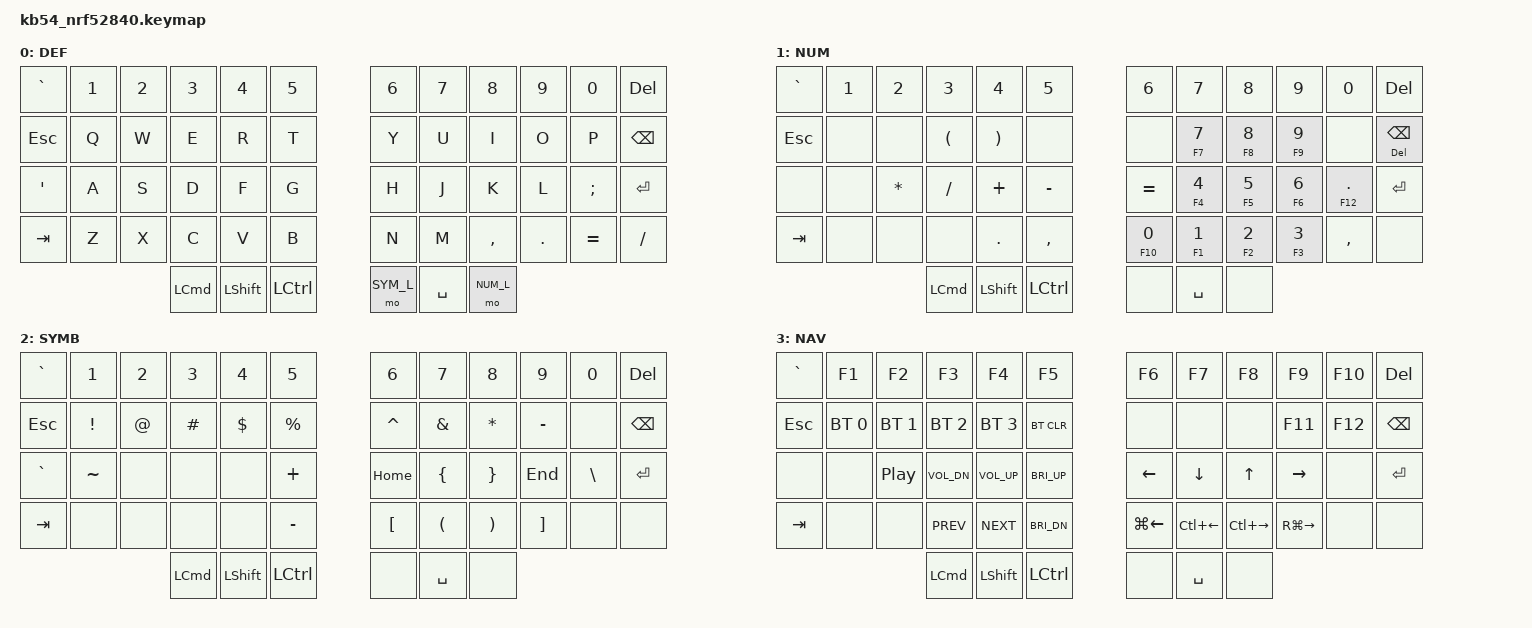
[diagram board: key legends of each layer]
/*
 * Copyright (c) 2020 The ZMK Contributors
 *
 * SPDX-License-Identifier: MIT
 */

#include <behaviors.dtsi>
#include <dt-bindings/zmk/keys.h>
#include <dt-bindings/zmk/bt.h>

#define DEF_L       0
#define NUM_L       1
#define SYM_L       2
#define NAV_L       3

/ {

    combos {
        compatible = "zmk,combos";
        combo_nav {
            timeout-ms = <100>;
            /* both inner thumbs */
            key-positions = <50 51>;
            bindings = <&mo NAV_L>;
        };
    };

	behaviors {
        hm: homerow_mods {
            compatible = "zmk,behavior-hold-tap";
            label = "HOMEROW_MODS";
            #binding-cells = <2>;
            tapping-term-ms = <300>;
            quick-tap-ms = <200>;
            flavor = "tap-preferred";
            bindings = <&kp>, <&kp>;
        };
    };

    keymap {
        compatible = "zmk,keymap";
        default_layer {
            display-name = "DEF";
			label = "DEF";
            bindings = <

   &kp GRAVE    &kp N1      &kp N2      &kp N3      &kp N4      &kp N5              &kp N6          &kp N7      &kp N8      &kp N9      &kp N0          &kp DEL
   &kp ESC      &kp Q       &kp W       &kp E       &kp R       &kp T               &kp Y           &kp U       &kp I       &kp O       &kp P           &kp BSPC
   &kp SQT      &kp A       &kp S       &kp D       &kp F       &kp G               &kp H           &kp J       &kp K       &kp L       &kp SEMI        &kp RET
   &kp TAB      &kp Z       &kp X       &kp C       &kp V       &kp B               &kp N           &kp M       &kp COMMA   &kp DOT     &kp EQUAL       &kp FSLH
                                        &kp LCMD    &kp LSHFT   &kp LCTRL           &mo SYM_L       &kp SPACE   &mo NUM_L
            >;
        };

        numbers_layer {
            display-name = "NUM";
			label = "NUM";
            bindings = <
   &kp GRAVE    &kp N1          &kp N2          &kp N3          &kp N4          &kp N5                          &kp N6          &kp N7      &kp N8      &kp N9      &kp N0          &kp DEL
   &kp ESC      &none           &none           &kp LPAR        &kp RPAR        &none                           &none           &hm F7 N7   &hm F8 N8   &hm F9 N9   &none           &hm DEL BSPC
   &none        &none           &kp STAR        &kp FSLH        &kp PLUS        &kp MINUS                       &kp EQUAL       &hm F4 N4   &hm F5 N5   &hm F6 N6   &hm F12 DOT     &kp RET
   &kp TAB      &none           &none           &none           &kp DOT         &kp COMMA                       &hm F10 N0		&hm F1 N1   &hm F2 N2   &hm F3 N3   &kp COMMA       &none
                                                &kp LCMD        &kp LSHFT       &kp LCTRL                       &none           &kp SPACE   &none
            >;
        };

        symbols_layer {
            display-name = "SYMB";
			label = "SYMB";
            bindings = <
   &kp GRAVE    &kp N1      &kp N2      &kp N3      &kp N4      &kp N5              &kp N6          &kp N7      &kp N8      &kp N9      &kp N0          &kp DEL
   &kp ESC      &kp EXCL    &kp AT      &kp HASH    &kp DLLR    &kp PRCNT           &kp CARET       &kp AMPS    &kp STAR    &kp MINUS   &none           &kp BSPC
   &kp GRAVE    &kp TILDE   &none       &none       &none       &kp PLUS            &kp HOME        &kp LBRC    &kp RBRC    &kp END     &kp BSLH        &kp RET
   &kp TAB      &none       &none       &none       &none       &kp MINUS           &kp LBKT        &kp LPAR    &kp RPAR    &kp RBKT    &none           &none
                                        &kp LCMD    &kp LSHFT   &kp LCTRL           &none           &kp SPACE   &none
            >;
        };

        arrows_layer {
            display-name = "NAV";
			label = "NAV";
            bindings = <
   &kp GRAVE    &kp F1          &kp F2          &kp F3          &kp F4          &kp F5                          &kp F6          &kp F7          &kp F8          &kp F9          &kp F10	        &kp DEL
   &kp ESC      &bt BT_SEL 0    &bt BT_SEL 1    &bt BT_SEL 2    &bt BT_SEL 3    &bt BT_CLR                      &none           &none           &none           &kp F11         &kp F12         &kp BSPC
   &none        &none           &kp C_PP        &kp C_VOL_DN    &kp C_VOL_UP    &kp C_BRI_UP                    &kp LEFT        &kp DOWN        &kp UP          &kp RIGHT       &none           &kp RET
   &kp TAB      &none           &none           &kp C_PREV      &kp C_NEXT      &kp C_BRI_DN                    &kp LG(LEFT)    &kp LC(LEFT)    &kp LC(RIGHT)   &kp RG(RIGHT)   &none           &none
                                                &kp LCMD        &kp LSHFT       &kp LCTRL                       &none           &kp SPACE       &none
            >;
        };

    };
};
